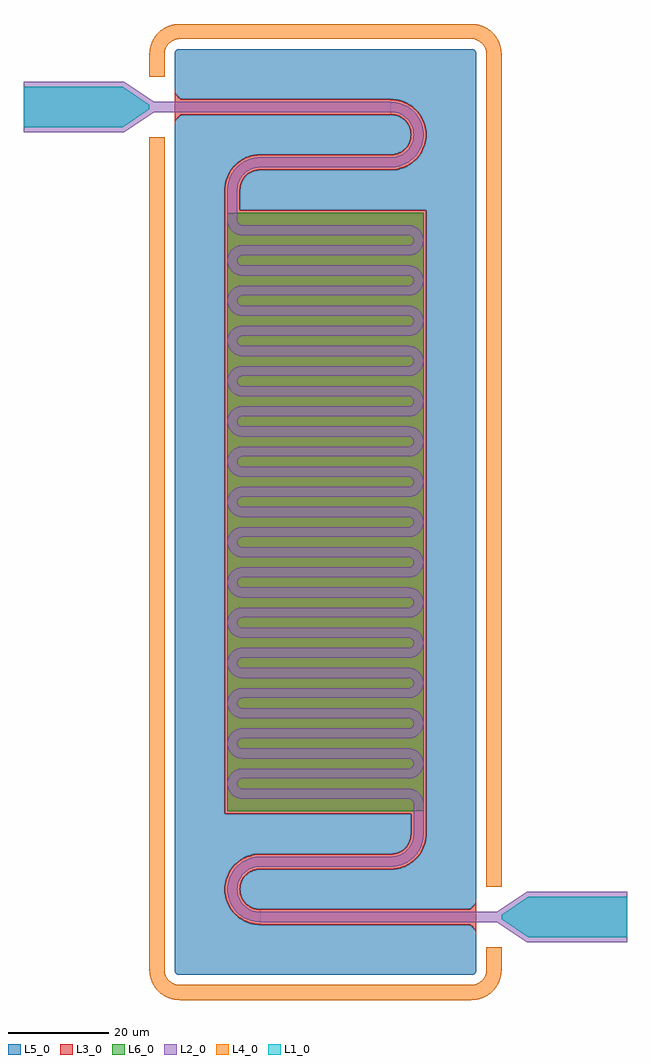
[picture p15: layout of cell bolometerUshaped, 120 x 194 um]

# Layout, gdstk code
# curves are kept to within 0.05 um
import gdstk
lib = gdstk.Library(unit=1e-6, precision=1e-09)
def R(c, l, rs):  # rectangles x0, y0, x1, y1
    for r in rs: c.add(gdstk.rectangle(r[:2], r[2:], *l))
def P(c, l, *ps):  # polygons
    for p in ps: c.add(gdstk.Polygon(p, *l))
L1_0 = (1, 0)
L2_0 = (2, 0)
L3_0 = (3, 0)
L4_0 = (4, 0)
L5_0 = (5, 0)
L6_0 = (6, 0)

bolometerushaped = lib.new_cell('bolometerUshaped')
P(bolometerushaped, L1_0, [(40.303,-84.5),(35,-80.965),(35,-80.035),(40.303,-76.5),(60,-76.5),(60,-84.5)],
  [(-60,76.5),(-60,84.5),(-40.303,84.5),(-35,80.965),(-35,80.035),(-40.303,76.5)])
P(bolometerushaped, L2_0, [(40,-85.5),(34,-81.5),(-13,-81.5),(-13.925,-81.434),(-14.831,-81.237),(-15.7,-80.913),(-16.895,-80.204),(-17.596,-79.596),(-18.204,-78.895),(-18.913,-77.7),(-19.237,-76.831),(-19.434,-75.925),(-19.5,-75),(-19.351,-73.618),(-18.913,-72.3),(-18.468,-71.486),(-17.912,-70.743),(-16.895,-69.796),(-15.7,-69.087),(-14.831,-68.763),(-13.925,-68.566),(-13,-68.5),(13.481,-68.474),(14.722,-68.157),(15.433,-67.786),(15.947,-67.401),(16.504,-66.824),(16.87,-66.296),(17.216,-65.573),(17.397,-64.957),(17.5,-64),(17.497,-57.929),(17.279,-57.373),(16.782,-57.041),(-16.714,-56.992),(-17.242,-56.907),(-17.843,-56.683),(-18.696,-56.044),(-19.272,-55.148),(-19.498,-54.107),(-19.452,-53.467),(-19.311,-52.952),(-18.767,-52.035),(-18.298,-51.598),(-17.843,-51.317),(-16.821,-51.017),(16.5,-51),(16.849,-50.937),(17.155,-50.756),(17.378,-50.479),(17.477,-50.213),(17.477,-49.787),(17.256,-49.345),(16.915,-49.09),(16.5,-49),(-16.821,-48.983),(-17.843,-48.683),(-18.696,-48.044),(-19.272,-47.148),(-19.498,-46.107),(-19.452,-45.467),(-19.311,-44.952),(-18.767,-44.035),(-18.298,-43.598),(-17.843,-43.317),(-16.821,-43.017),(16.5,-43),(16.849,-42.937),(17.155,-42.756),(17.378,-42.479),(17.477,-42.213),(17.477,-41.787),(17.256,-41.345),(16.915,-41.09),(16.5,-41),(-16.821,-40.983),(-17.843,-40.683),(-18.696,-40.044),(-19.272,-39.148),(-19.498,-38.107),(-19.452,-37.467),(-19.311,-36.952),(-18.767,-36.035),(-18.298,-35.598),(-17.843,-35.317),(-16.821,-35.017),(16.5,-35),(16.849,-34.937),(17.099,-34.801),(17.301,-34.599),(17.459,-34.282),(17.49,-33.858),(17.301,-33.401),(16.979,-33.122),(16.5,-33),(-16.821,-32.983),(-17.843,-32.683),(-18.696,-32.044),(-19.272,-31.148),(-19.498,-30.107),(-19.452,-29.467),(-19.311,-28.952),(-18.767,-28.035),(-18.298,-27.598),(-17.843,-27.317),(-16.821,-27.017),(16.5,-27),(16.849,-26.937),(17.099,-26.801),(17.301,-26.599),(17.459,-26.282),(17.49,-25.858),(17.301,-25.401),(16.979,-25.122),(16.5,-25),(-16.821,-24.983),(-17.843,-24.683),(-18.696,-24.044),(-19.272,-23.148),(-19.498,-22.107),(-19.452,-21.467),(-19.311,-20.952),(-18.767,-20.035),(-18.298,-19.598),(-17.843,-19.317),(-16.821,-19.017),(16.5,-19),(16.849,-18.937),(17.099,-18.801),(17.301,-18.599),(17.459,-18.282),(17.49,-17.858),(17.301,-17.401),(16.979,-17.122),(16.5,-17),(-16.821,-16.983),(-17.843,-16.683),(-18.696,-16.044),(-19.272,-15.148),(-19.498,-14.107),(-19.452,-13.467),(-19.311,-12.952),(-18.767,-12.035),(-18.298,-11.598),(-17.843,-11.317),(-16.821,-11.017),(16.5,-11),(16.849,-10.937),(17.099,-10.801),(17.437,-10.349),(17.49,-9.858),(17.301,-9.401),(16.979,-9.122),(16.5,-9),(-16.821,-8.983),(-17.843,-8.683),(-18.696,-8.044),(-19.272,-7.148),(-19.498,-6.107),(-19.452,-5.467),(-19.311,-4.952),(-18.767,-4.035),(-18.298,-3.598),(-17.843,-3.317),(-16.821,-3.017),(16.5,-3),(16.849,-2.937),(17.099,-2.801),(17.437,-2.349),(17.49,-1.858),(17.301,-1.401),(16.979,-1.122),(16.5,-1),(-16.821,-0.983),(-17.843,-0.683),(-18.696,-0.044),(-19.272,0.852),(-19.498,1.893),(-19.452,2.533),(-19.311,3.048),(-18.767,3.965),(-18.298,4.402),(-17.843,4.683),(-16.821,4.983),(16.5,5),(16.849,5.063),(17.099,5.199),(17.437,5.651),(17.49,6.142),(17.301,6.599),(16.979,6.878),(16.5,7),(-16.821,7.017),(-17.843,7.317),(-18.696,7.956),(-19.272,8.852),(-19.492,9.786),(-19.483,10.321),(-19.346,10.947),(-19.133,11.438),(-18.767,11.965),(-18.298,12.402),(-17.843,12.683),(-16.821,12.983),(16.5,13),(17.041,13.159),(17.41,13.585),(17.497,14.071),(17.341,14.541),(16.979,14.878),(16.5,15),(-16.821,15.017),(-17.843,15.317),(-18.696,15.956),(-19.272,16.852),(-19.492,17.786),(-19.483,18.321),(-19.346,18.947),(-19.133,19.438),(-18.767,19.965),(-18.298,20.402),(-17.843,20.683),(-16.821,20.983),(16.5,21),(16.979,21.122),(17.378,21.521),(17.5,22),(17.378,22.479),(17.041,22.841),(16.571,22.997),(-16.821,23.017),(-17.843,23.317),(-18.696,23.956),(-19.272,24.852),(-19.492,25.786),(-19.483,26.321),(-19.346,26.947),(-19.133,27.438),(-18.767,27.965),(-18.298,28.402),(-17.843,28.683),(-16.821,28.983),(16.5,29),(16.979,29.122),(17.378,29.521),(17.5,30),(17.378,30.479),(17.041,30.841),(16.571,30.997),(-16.821,31.017),(-17.843,31.317),(-18.621,31.879),(-19.183,32.657),(-19.483,33.679),(-19.483,34.321),(-19.378,34.845),(-19.183,35.343),(-18.836,35.882),(-18.465,36.267),(-17.938,36.633),(-17.345,36.878),(-16.821,36.983),(16.5,37),(16.979,37.122),(17.341,37.459),(17.5,38),(17.378,38.479),(17.041,38.841),(16.571,38.997),(-16.821,39.017),(-17.843,39.317),(-18.621,39.879),(-19.183,40.657),(-19.483,41.679),(-19.483,42.321),(-19.378,42.845),(-19.183,43.343),(-18.836,43.882),(-18.465,44.267),(-17.938,44.633),(-17.345,44.878),(-16.821,44.983),(16.5,45),(16.915,45.09),(17.256,45.345),(17.49,45.858),(17.41,46.415),(17.099,46.801),(16.571,46.997),(-16.821,47.017),(-17.843,47.317),(-18.621,47.879),(-19.183,48.657),(-19.483,49.679),(-19.483,50.321),(-19.378,50.845),(-19.183,51.343),(-18.836,51.882),(-18.465,52.267),(-17.938,52.633),(-17.345,52.878),(-16.821,52.983),(16.5,53),(16.915,53.09),(17.207,53.293),(17.477,53.787),(17.437,54.349),(17.099,54.801),(16.571,54.997),(-16.821,55.017),(-17.746,55.271),(-18.544,55.804),(-19.183,56.657),(-19.469,57.573),(-19.496,64.232),(-19.397,65.154),(-19.167,66.053),(-18.59,67.317),(-17.596,68.596),(-16.514,69.468),(-15.272,70.09),(-14.154,70.397),(-13,70.5),(13.321,70.511),(14.573,70.784),(15.697,71.398),(16.401,72.053),(16.786,72.567),(17.318,73.732),(17.5,75),(17.318,76.268),(16.786,77.433),(16.401,77.947),(15.697,78.602),(15.157,78.95),(14.268,79.318),(13,79.5),(13,81.5),(13.925,81.434),(14.831,81.237),(15.7,80.913),(16.895,80.204),(17.596,79.596),(18.204,78.895),(18.913,77.7),(19.237,76.831),(19.434,75.925),(19.5,75),(19.434,74.075),(19.237,73.169),(18.913,72.3),(18.204,71.105),(17.596,70.404),(16.895,69.796),(16.115,69.295),(15.272,68.91),(14.382,68.649),(13.464,68.517),(-13,68.5),(-13.64,68.454),(-14.421,68.27),(-15.433,67.786),(-16.294,67.066),(-16.95,66.157),(-17.318,65.268),(-17.497,64.161),(-17.484,57.822),(-17.378,57.521),(-17.155,57.244),(-16.849,57.063),(-16.5,57),(16.927,56.969),(17.548,56.811),(18.298,56.402),(18.902,55.798),(19.311,55.048),(19.492,54.214),(19.431,53.362),(19.133,52.562),(18.621,51.879),(17.746,51.271),(17.138,51.069),(16.5,51),(-16.536,50.999),(-16.915,50.91),(-17.256,50.655),(-17.459,50.282),(-17.49,49.858),(-17.378,49.521),(-17.155,49.244),(-16.849,49.063),(-16.5,49),(16.927,48.969),(17.548,48.811),(18.298,48.402),(18.902,47.798),(19.229,47.246),(19.431,46.638),(19.492,45.786),(19.311,44.952),(18.902,44.202),(18.465,43.733),(17.938,43.367),(17.138,43.069),(16.5,43),(-16.571,42.997),(-16.979,42.878),(-17.279,42.627),(-17.469,42.247),(-17.49,41.858),(-17.378,41.521),(-17.155,41.244),(-16.849,41.063),(-16.5,41),(16.927,40.969),(17.548,40.811),(18.298,40.402),(18.902,39.798),(19.229,39.246),(19.431,38.638),(19.492,37.786),(19.311,36.952),(19.024,36.378),(18.621,35.879),(18.122,35.476),(17.548,35.189),(16.714,35.008),(-16.536,34.999),(-16.915,34.91),(-17.256,34.655),(-17.459,34.282),(-17.49,33.858),(-17.378,33.521),(-17.155,33.244),(-16.849,33.063),(-16.5,33),(16.927,32.969),(17.548,32.811),(18.298,32.402),(18.767,31.965),(19.133,31.438),(19.431,30.638),(19.5,30),(19.431,29.362),(19.133,28.562),(18.767,28.035),(18.122,27.476),(17.548,27.189),(16.714,27.008),(-16.536,26.999),(-16.915,26.91),(-17.256,26.655),(-17.449,26.316),(-17.494,25.893),(-17.378,25.521),(-17.155,25.244),(-16.849,25.063),(-16.5,25),(16.927,24.969),(17.548,24.811),(18.298,24.402),(18.767,23.965),(19.133,23.438),(19.431,22.638),(19.5,22),(19.431,21.362),(19.229,20.754),(18.902,20.202),(18.298,19.598),(17.548,19.189),(16.714,19.008),(-16.536,18.999),(-16.915,18.91),(-17.256,18.655),(-17.449,18.316),(-17.494,17.893),(-17.378,17.521),(-17.155,17.244),(-16.849,17.063),(-16.5,17),(16.927,16.969),(17.548,16.811),(18.298,16.402),(18.767,15.965),(19.133,15.438),(19.431,14.638),(19.5,14),(19.431,13.362),(19.229,12.754),(18.902,12.202),(18.298,11.598),(17.548,11.189),(16.714,11.008),(-16.536,10.999),(-16.915,10.91),(-17.256,10.655),(-17.449,10.316),(-17.497,9.929),(-17.41,9.585),(-17.207,9.293),(-16.883,9.076),(-16.536,9.001),(16.927,8.969),(17.548,8.811),(18.122,8.524),(18.621,8.121),(19.024,7.622),(19.311,7.048),(19.492,6.214),(19.469,5.573),(19.311,4.952),(18.902,4.202),(18.298,3.598),(17.548,3.189),(16.714,3.008),(-16.536,2.999),(-16.915,2.91),(-17.256,2.655),(-17.449,2.316),(-17.497,1.929),(-17.41,1.585),(-17.207,1.293),(-16.883,1.076),(-16.536,1.001),(16.927,0.969),(17.548,0.811),(18.122,0.524),(18.621,0.121),(19.024,-0.378),(19.311,-0.952),(19.492,-1.786),(19.469,-2.427),(19.311,-3.048),(18.902,-3.798),(18.298,-4.402),(17.548,-4.811),(16.714,-4.992),(-16.536,-5.001),(-16.915,-5.09),(-17.256,-5.345),(-17.449,-5.684),(-17.497,-6.071),(-17.41,-6.415),(-17.207,-6.707),(-16.883,-6.924),(-16.536,-6.999),(16.927,-7.031),(17.548,-7.189),(18.122,-7.476),(18.621,-7.879),(19.024,-8.378),(19.311,-8.952),(19.469,-9.573),(19.492,-10.214),(19.378,-10.845),(18.902,-11.798),(18.298,-12.402),(17.548,-12.811),(16.714,-12.992),(-16.536,-13.001),(-16.915,-13.09),(-17.256,-13.345),(-17.449,-13.684),(-17.497,-14.071),(-17.41,-14.415),(-17.207,-14.707),(-16.883,-14.924),(-16.536,-14.999),(16.927,-15.031),(17.548,-15.189),(18.122,-15.476),(18.621,-15.879),(19.024,-16.378),(19.311,-16.952),(19.469,-17.573),(19.492,-18.214),(19.378,-18.845),(18.902,-19.798),(18.298,-20.402),(17.548,-20.811),(16.714,-20.992),(-16.536,-21.001),(-16.915,-21.09),(-17.256,-21.345),(-17.449,-21.684),(-17.497,-22.071),(-17.41,-22.415),(-17.207,-22.707),(-16.883,-22.924),(-16.536,-22.999),(16.927,-23.031),(17.548,-23.189),(18.122,-23.476),(18.621,-23.879),(19.024,-24.378),(19.311,-24.952),(19.469,-25.573),(19.492,-26.214),(19.378,-26.845),(18.902,-27.798),(18.298,-28.402),(17.548,-28.811),(16.714,-28.992),(-16.536,-29.001),(-16.915,-29.09),(-17.232,-29.319),(-17.437,-29.651),(-17.499,-30.036),(-17.424,-30.383),(-17.207,-30.707),(-16.883,-30.924),(-16.536,-30.999),(16.927,-31.031),(17.548,-31.189),(18.122,-31.476),(18.902,-32.202),(19.229,-32.754),(19.431,-33.362),(19.5,-34),(19.431,-34.638),(19.024,-35.622),(18.465,-36.267),(17.548,-36.811),(16.714,-36.992),(-16.536,-37.001),(-16.915,-37.09),(-17.232,-37.319),(-17.437,-37.651),(-17.499,-38.036),(-17.424,-38.383),(-17.207,-38.707),(-16.883,-38.924),(-16.536,-38.999),(16.927,-39.031),(17.548,-39.189),(18.122,-39.476),(18.902,-40.202),(19.229,-40.754),(19.431,-41.362),(19.5,-42),(19.431,-42.638),(19.024,-43.622),(18.465,-44.267),(17.548,-44.811),(16.714,-44.992),(-16.536,-45.001),(-16.915,-45.09),(-17.232,-45.319),(-17.437,-45.651),(-17.499,-46.036),(-17.424,-46.383),(-17.207,-46.707),(-16.883,-46.924),(-16.536,-46.999),(16.927,-47.031),(17.548,-47.189),(18.122,-47.476),(18.902,-48.202),(19.229,-48.754),(19.431,-49.362),(19.5,-50),(19.431,-50.638),(19.024,-51.622),(18.465,-52.267),(17.548,-52.811),(16.714,-52.992),(-16.536,-53.001),(-16.915,-53.09),(-17.232,-53.319),(-17.437,-53.651),(-17.499,-54.036),(-17.424,-54.383),(-17.207,-54.707),(-16.883,-54.924),(-16.536,-54.999),(16.5,-55),(17.345,-55.122),(18.122,-55.476),(18.696,-55.956),(19.183,-56.657),(19.431,-57.362),(19.5,-58),(19.5,-64),(19.397,-65.154),(19.09,-66.272),(18.705,-67.115),(18.204,-67.895),(17.596,-68.596),(16.895,-69.204),(16.115,-69.705),(15.272,-70.09),(14.154,-70.397),(13,-70.5),(-13,-70.5),(-14.268,-70.682),(-15.157,-71.05),(-15.697,-71.398),(-16.401,-72.053),(-16.786,-72.567),(-17.216,-73.427),(-17.397,-74.043),(-17.489,-74.679),(-17.454,-75.64),(-17.318,-76.268),(-16.95,-77.157),(-16.401,-77.947),(-15.947,-78.401),(-15.157,-78.95),(-14.573,-79.216),(-13.957,-79.397),(-13,-79.5),(-13,-81.5),(-13,-79.5),(34,-79.5),(40,-75.5),(60,-75.5),(60,-85.5)],
  [(-60,75.5),(-60,85.5),(-40,85.5),(-34,81.5),(13,81.5),(13,79.5),(-34,79.5),(-40,75.5)])
P(bolometerushaped, L3_0, [(30,-84),(29.819,-83.169),(29.511,-82.69),(28.831,-82.181),(28,-82),(-13,-82),(-13.996,-81.929),(-15.446,-81.559),(-16.355,-81.144),(-17.195,-80.604),(-17.95,-79.95),(-18.604,-79.195),(-19.367,-77.908),(-19.84,-76.488),(-19.982,-75.499),(-19.929,-74.004),(-19.716,-73.028),(-19.144,-71.645),(-18.604,-70.805),(-17.95,-70.05),(-17.195,-69.396),(-16.355,-68.856),(-14.972,-68.284),(-13.996,-68.071),(-13,-68),(13.428,-67.977),(13.989,-67.876),(14.662,-67.639),(15.163,-67.365),(15.726,-66.928),(16.115,-66.51),(16.511,-65.917),(16.909,-64.85),(17,-64),(17,-60),(-20,-60),(-20,64),(-19.84,65.488),(-19.559,66.446),(-19.144,67.355),(-18.604,68.195),(-17.95,68.95),(-17.195,69.604),(-16.355,70.144),(-15.211,70.642),(-14.243,70.889),(-13,71),(13,71),(13.85,71.091),(14.917,71.489),(15.619,71.977),(16.023,72.381),(16.639,73.338),(16.909,74.15),(16.99,74.715),(16.909,75.85),(16.639,76.662),(16.365,77.163),(16.023,77.619),(15.397,78.202),(14.398,78.748),(13.85,78.909),(13,79),(13,82),(13.996,81.929),(15.446,81.559),(16.355,81.144),(17.195,80.604),(17.95,79.95),(18.604,79.195),(19.144,78.355),(19.559,77.446),(19.929,75.996),(20,75),(19.929,74.004),(19.716,73.028),(19.144,71.645),(18.604,70.805),(17.95,70.05),(17.195,69.396),(16.355,68.856),(15.446,68.441),(14.488,68.16),(13.499,68.018),(-13,68),(-13.989,67.876),(-14.917,67.511),(-15.726,66.928),(-16.365,66.163),(-16.748,65.398),(-16.909,64.85),(-16.997,64.143),(-17,60),(20,60),(20,-64),(19.889,-65.243),(19.642,-66.211),(19.26,-67.133),(18.75,-67.992),(18.123,-68.77),(17.392,-69.45),(16.572,-70.02),(15.679,-70.467),(14.731,-70.783),(13.996,-70.929),(13,-71),(-13.569,-71.041),(-14.398,-71.252),(-14.917,-71.489),(-15.619,-71.977),(-16.202,-72.603),(-16.639,-73.338),(-16.838,-73.873),(-16.99,-74.715),(-16.99,-75.285),(-16.909,-75.85),(-16.639,-76.662),(-16.202,-77.397),(-15.619,-78.023),(-15.163,-78.365),(-14.398,-78.748),(-13.85,-78.909),(-13,-79),(-13,-82),(-13,-79),(28,-79),(28.831,-78.819),(29.31,-78.511),(29.819,-77.831),(30,-77)],
  [(-30,77),(-30,84),(-29.819,83.169),(-29.511,82.69),(-28.831,82.181),(-28,82),(13,82),(13,79),(-28,79),(-28.831,78.819),(-29.31,78.511),(-29.819,77.831)])
P(bolometerushaped, L4_0, [(-29,-97),(-30.209,-96.878),(-31.336,-96.529),(-32.355,-95.975),(-33.243,-95.243),(-33.975,-94.355),(-34.529,-93.336),(-34.878,-92.209),(-34.998,-91.155),(-35,74.5),(-32,74.5),(-32,-91),(-31.939,-91.605),(-31.735,-92.235),(-31.269,-92.963),(-30.677,-93.488),(-29.892,-93.865),(-29.077,-93.999),(29.307,-93.985),(30.1,-93.792),(30.852,-93.36),(31.447,-92.737),(31.818,-92.032),(31.999,-91.077),(32,-86.5),(35,-86.5),(34.983,-91.462),(34.811,-92.5),(34.408,-93.601),(33.63,-94.817),(32.59,-95.808),(31.336,-96.529),(29.914,-96.931),(29,-97)],
  [(32,-74.5),(32,91),(31.818,92.032),(31.404,92.795),(30.737,93.447),(29.962,93.842),(29.077,93.999),(-29.307,93.985),(-30.1,93.792),(-30.852,93.36),(-31.447,92.737),(-31.818,92.032),(-31.999,91.077),(-32,86.5),(-35,86.5),(-34.983,91.462),(-34.846,92.355),(-34.584,93.2),(-34.055,94.234),(-33.243,95.243),(-32.234,96.055),(-31.063,96.636),(-30.062,96.906),(-29,97),(29.309,96.992),(30.209,96.878),(31.063,96.636),(31.86,96.276),(32.59,95.808),(33.243,95.243),(33.808,94.59),(34.276,93.86),(34.636,93.063),(34.906,92.062),(35,91),(35,-74.5)])
P(bolometerushaped, L5_0, [(-29,-92),(-29.389,-91.921),(-29.707,-91.707),(-29.921,-91.389),(-30,-91),(-30,0),(-20,0),(-20,-60),(17,-60),(16.997,-64.143),(16.909,-64.85),(16.748,-65.398),(16.365,-66.163),(15.726,-66.928),(14.917,-67.511),(13.989,-67.876),(13,-68),(-13.499,-68.018),(-14.488,-68.16),(-15.446,-68.441),(-16.355,-68.856),(-17.195,-69.396),(-17.95,-70.05),(-18.604,-70.805),(-19.144,-71.645),(-19.716,-73.028),(-19.929,-74.004),(-20,-75),(-19.929,-75.996),(-19.559,-77.446),(-19.144,-78.355),(-18.604,-79.195),(-17.95,-79.95),(-17.195,-80.604),(-16.355,-81.144),(-15.446,-81.559),(-13.996,-81.929),(-13,-82),(-13,-79),(-13.85,-78.909),(-14.398,-78.748),(-15.163,-78.365),(-15.619,-78.023),(-16.023,-77.619),(-16.511,-76.917),(-16.748,-76.398),(-16.959,-75.569),(-16.99,-74.715),(-16.909,-74.15),(-16.511,-73.083),(-16.023,-72.381),(-15.619,-71.977),(-14.662,-71.361),(-13.85,-71.091),(-13,-71),(13.748,-70.96),(15.211,-70.642),(16.133,-70.26),(16.784,-69.889),(17.584,-69.29),(18.123,-68.77),(18.604,-68.195),(19.144,-67.355),(19.559,-66.446),(19.783,-65.731),(19.929,-64.996),(20,-64),(20,0),(30,0),(30,-77),(29.919,-77.563),(29.683,-78.081),(29.081,-78.683),(28.563,-78.919),(28,-79),(-13,-79),(-13,-82),(28,-82),(28.563,-82.081),(29.081,-82.317),(29.511,-82.69),(29.819,-83.169),(29.98,-83.715),(30,-91),(29.855,-91.519),(29.477,-91.879),(29,-92)],
  [(-30,0),(-30,77),(-29.919,77.563),(-29.683,78.081),(-29.081,78.683),(-28.563,78.919),(-28,79),(13,79),(13,82),(-28,82),(-28.563,82.081),(-29.081,82.317),(-29.511,82.69),(-29.819,83.169),(-29.98,83.715),(-30,91),(-29.855,91.519),(-29.477,91.879),(-29,92),(29,92),(29.519,91.855),(29.879,91.477),(30,91),(30,0),(20,0),(20,60),(-17,60),(-16.997,64.143),(-16.909,64.85),(-16.748,65.398),(-16.365,66.163),(-15.726,66.928),(-14.917,67.511),(-13.989,67.876),(-13,68),(13.499,68.018),(14.488,68.16),(15.446,68.441),(16.355,68.856),(17.195,69.396),(17.95,70.05),(18.604,70.805),(19.144,71.645),(19.716,73.028),(19.929,74.004),(20,75),(19.929,75.996),(19.559,77.446),(19.144,78.355),(18.604,79.195),(17.95,79.95),(17.195,80.604),(16.355,81.144),(15.446,81.559),(13.996,81.929),(13,82),(13,79),(13.85,78.909),(14.398,78.748),(15.163,78.365),(15.619,78.023),(16.023,77.619),(16.511,76.917),(16.748,76.398),(16.959,75.569),(16.99,74.715),(16.909,74.15),(16.511,73.083),(16.023,72.381),(15.619,71.977),(14.662,71.361),(13.85,71.091),(13,71),(-13.748,70.96),(-15.211,70.642),(-16.133,70.26),(-16.784,69.889),(-17.584,69.29),(-18.123,68.77),(-18.604,68.195),(-19.144,67.355),(-19.559,66.446),(-19.783,65.731),(-19.929,64.996),(-20,64),(-20,0)])
R(bolometerushaped, L6_0, [(-19.5,-59.5,19.5,59.5)])

lib.write_gds('bolometerUshaped.gds')
